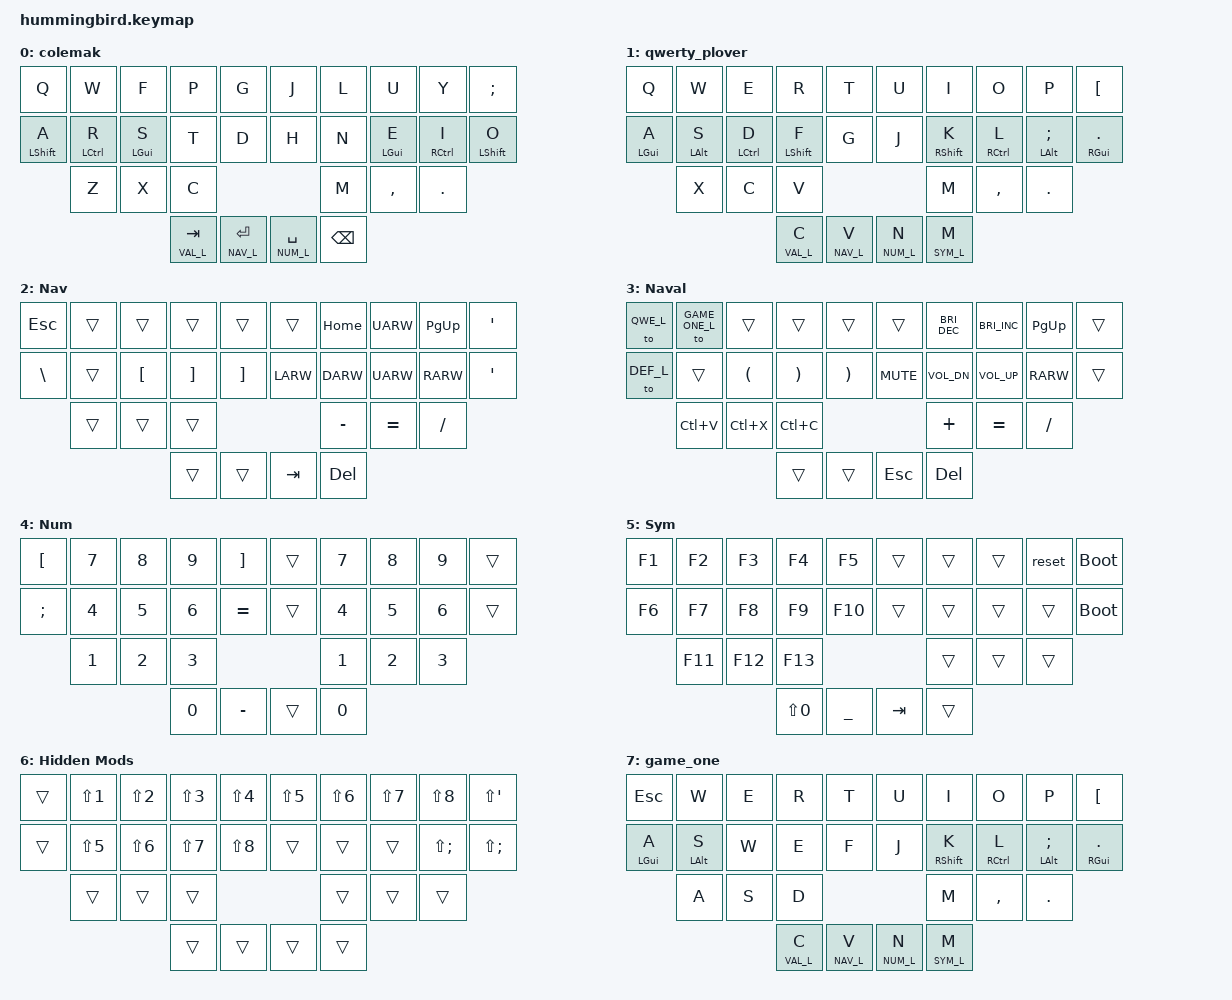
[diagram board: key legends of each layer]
/*
 * Copyright (c) 2022 The ZMK Contributors
 *
 * SPDX-License-Identifier: MIT
 */

#include <behaviors.dtsi>
#include <dt-bindings/zmk/keys.h>

#define DEF_L 0
#define QWE_L 1
#define NAV_L 2
#define VAL_L 3
#define NUM_L 4
#define SYM_L 5
#define HIDDEN_L 6
#define GAME_ONE_L 7
#define COMBO_DELAY 25

/*
    default_transform: keymap_transform_0 {
        compatible = "zmk,matrix-transform";
        columns = <7>;
        rows = <6>;
        map = <
    RC(0,0) RC(1,0) RC(0,1) RC(1,1) RC(0,2) RC(1,2) RC(0,3) RC(1,3) RC(0,4) RC(1,4)
    10RC(2,0) RC(3,0) RC(2,1) RC(3,1) RC(2,2) RC(3,2) RC(2,3) RC(3,3) RC(2,4) RC(3,4)
            RC(4,0) RC(5,0) RC(4,1)                 RC(5,2) RC(4,3) RC(5,3)
                          RC(5,1) RC(4,2)       RC(5,4) RC(4,4)
        >;
    };

*/
// Using layer taps on thumbs, having quick tap as well helps w/ repeating space/backspace
&lt { quick_tap_ms = <150>; };

/ {
    behaviors {
        hm: homerow_mods {
            compatible = "zmk,behavior-hold-tap";
            label = "homerow mods";
            #binding-cells = <2>;
            tapping_term_ms = <180>;
            flavor = "tap-preferred";
            bindings = <&kp>, <&kp>;
        };
    };

    conditional_layers {
        compatible = "zmk,conditional-layers";
        tri_layer {
            if-layers = <2 3>;
            then-layer = <5>;
        };
    };

    combos {
        compatible = "zmk,combos";
        combo_hidden {
            timeout-ms = <COMBO_DELAY>;
            key-positions = <0 10>;
            bindings = <&mo HIDDEN_L>;
        };
        combo_fast_shift_i {
            layers = <0>;
            timeout-ms = <150>;
            key-positions = <10 18>;
            bindings = <&kp LS(I)>;
        };
        combo_fast_ctrlv {
            layers = <0>;
            timeout-ms = <COMBO_DELAY>;
            key-positions = <20 26>;
            bindings = <&kp LC(V)>;
        };
        combo_fast_ctrlc {
            layers = <0>;
            timeout-ms = <COMBO_DELAY>;
            key-positions = <22 26>;
            bindings = <&kp LC(C)>;
        };
        combo_vone {
            layers = <0>;
            timeout-ms = <COMBO_DELAY>;
            key-positions = <20 21>;
            bindings = <&kp V>;
        };
        combo_bone {
            layers = <0>;
            timeout-ms = <COMBO_DELAY>;
            key-positions = <21 22>;
            bindings = <&kp B>;
        };
        combo_kone {
            layers = <0>;
            timeout-ms = <COMBO_DELAY>;
            key-positions = <23 24>;
            bindings = <&kp K>;
        };
        combo_vtwo {
            layers = <0>;
            timeout-ms = <COMBO_DELAY>;
            key-positions = <11 12>;
            bindings = <&kp V>;
        };
        combo_btwo {
            layers = <0>;
            timeout-ms = <COMBO_DELAY>;
            key-positions = <12 13>;
            bindings = <&kp B>;
        };
        combo_ktwo {
            layers = <0>;
            timeout-ms = <COMBO_DELAY>;
            key-positions = <16 17>;
            bindings = <&kp K>;
        };

        combo_return_to_cole {
            layers = <1>;
            timeout-ms = <50>;
            key-positions = <26 27 28 29>;
            bindings = <&to DEF_L>;
        };

        // combo_z_qwer {
        //     layers = <1>;
        //     timeout-ms = <50>;
        //     key-positions = <20 21>;
        //     bindings = <&kp Z>;
        // };
        // combo_b_qwer {
        //     layers = <1>;
        //     timeout-ms = <50>;
        //     key-positions = <21 22>;
        //     bindings = <&kp B>;
        // };
        // combo_y_qwer {
        //     layers = <1>;
        //     timeout-ms = <50>;
        //     key-positions = <23 24>;
        //     bindings = <&kp Y>;
        // };

        // combo_slash_qwer {
        //     layers = <1>;
        //     timeout-ms = <50>;
        //     key-positions = <24 25>;
        //     bindings = <&kp SLASH>;
        // };
    };


        // default_layer {
        //     bindings = <
        //         &kp 0      &kp 1      &kp 2       &kp 3           &kp 4        &kp 5            &kp 6          &kp 7       &kp 8      &kp 9
        //         &hm 10     &hm 11     &hm 12      &hm 13          &kp 14       &kp 15           &hm 16         &hm 18      &hm 19 &hm RGUI O
        //                    &kp Z      &kp X       &kp C                                         &kp K          &kp M  &kp COMMA
        //                                           &lt NAV_L TAB  &kp RET       &lt NUM_L SPACE  &lt SYM_L BKSP
        //     >;
        // };


    keymap {
        compatible = "zmk,keymap";

        default_layer {
            label = "colemak";
            bindings = <
                &kp Q       &kp W       &kp F       &kp P     &kp G        &kp J            &kp L    &kp U       &kp Y          &kp SEMI
                &hm LSHFT A &hm LCTRL R &hm LGUI S  &kp T     &kp D        &kp H            &kp N    &hm LGUI E  &hm RCTRL I    &hm LSHFT O
                            &kp Z       &kp X       &kp C                                   &kp M    &kp COMMA   &kp DOT
                                                  &lt VAL_L TAB  &lt NAV_L RET &lt NUM_L SPACE  &kp BKSP
            >;
        };

        qwerty_layer {
            label = "qwerty_plover";
            bindings = <
                &kp Q      &kp W      &kp E       &kp R           &kp T        &kp U            &kp I          &kp O       &kp P      &kp LBKT
                &hm LGUI A &hm LALT S &hm LCTRL D &hm LSHFT F     &kp G        &kp J            &hm RSHFT K    &hm RCTRL L &hm LALT SEMI &hm RGUI DOT
                           &kp X      &kp C       &kp V                                         &kp M          &kp COMMA  &kp DOT
                                                  &lt VAL_L C  &lt NAV_L V &lt NUM_L N  &lt SYM_L M
            >;
        };

        nav_layer {
            label = "Nav";
            bindings = <
                &kp ESC     &trans     &trans      &trans          &trans       &trans           &kp HOME       &kp UARW  &kp PG_UP  &kp QUOT
                &kp BSLH    &trans    &kp LBKT   &kp RBKT        &kp RBKT     &kp LARW         &kp DARW       &kp UARW  &kp RARW   &kp QUOT
                           &trans     &trans      &trans                                        &kp MINUS      &kp EQUAL &kp SLASH
                                                  &trans          &trans       &kp TAB          &kp DEL
            >;
        };  
        naval_layer {
            label = "Naval";
            bindings = <
                &to QWE_L     &to GAME_ONE_L      &trans      &trans          &trans       &trans         &kp C_BRI_DEC &kp C_BRI_INC &kp PG_UP  &trans
                &to DEF_L     &trans     &kp LPAR    &kp RPAR        &kp RPAR     &kp K_MUTE     &kp K_VOL_DN  &kp K_VOL_UP  &kp RARW   &trans
                              &kp LC(V)  &kp LC(X)   &kp LC(C)                                      &kp PLUS      &kp EQUAL     &kp SLASH
                                                  &trans          &trans       &kp ESC          &kp DEL
            >;
        };

        num_layer {
            label = "Num";
            bindings = <
                &kp LBKT   &kp N7     &kp N8      &kp N9          &kp RBKT      &trans          &kp N7        &kp N8     &kp N9    &trans
                &kp SEMI   &kp N4     &kp N5      &kp N6          &kp EQUAL     &trans          &kp N4        &kp N5     &kp N6    &trans
                           &kp N1     &kp N2      &kp N3                                        &kp N1        &kp N2     &kp N3
                                                  &kp N0          &kp MINUS     &trans          &kp N0
            >;
        };

        sym_layer {
            label = "Sym";
            bindings = <
                &kp F1   &kp F2 &kp F3  &kp F4      &kp F5      &trans          &trans         &trans      &reset     &bootloader
                &kp F6  &kp F7 &kp F8  &kp F9      &kp F10      &trans          &trans         &trans      &trans     &bootloader
                           &kp F11 &kp F12  &kp F13                                    &trans         &trans      &trans
                                                  &kp LS(N0)      &kp UNDER     &kp TAB          &trans
            >;
        };
        hidden_layer {
            label = "Hidden Mods";
            bindings = <
                &trans   &kp LS(N1) &kp LS(N2)  &kp LS(N3)      &kp LS(N4)      &kp LS(N5) &kp LS(N6)  &kp LS(N7) &kp LS(N8)     &kp LS(QUOT)
                &trans   &kp LS(N5) &kp LS(N6)  &kp LS(N7)      &kp LS(N8)      &trans     &trans      &trans     &kp LS(SEMI)   &kp LS(SEMI)
                         &trans     &trans      &trans                                      &trans         &trans      &trans
                                                  &trans      &trans     &trans          &trans
            >;
        };

        game_one_layer {
            label = "game_one";
            bindings = <
                &kp ESC      &kp W      &kp E       &kp R           &kp T        &kp U            &kp I          &kp O       &kp P      &kp LBKT
                &hm LGUI A &hm LALT S &kp W       &kp E     &kp F        &kp J            &hm RSHFT K    &hm RCTRL L &hm LALT SEMI &hm RGUI DOT
                           &kp A      &kp S       &kp D                                         &kp M          &kp COMMA  &kp DOT
                                                  &lt VAL_L C  &lt NAV_L V &lt NUM_L N  &lt SYM_L M
            >;
        };
    };
};

